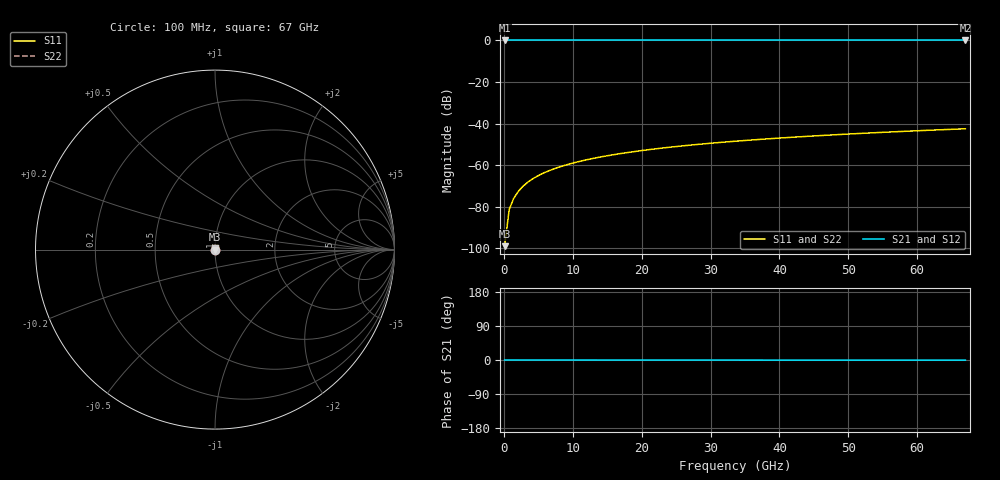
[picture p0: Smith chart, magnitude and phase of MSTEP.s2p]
! Touchstone Ver. 1.0
! Number of ports is 2
# Hz  S RI  R  50
! SCATTERING PARAMETERS  :
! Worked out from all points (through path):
!   101 points, 100 MHz to 67 GHz, reference 50 ohm
!   highest |S21| = 0.00 dB at 100 MHz (marker M1); lowest = 0.0 dB at 67 GHz (marker M2)
!   lowest |S11| = -99.0 dB at 100 MHz (marker M3), VSWR 1.00, Z = 50 + j0.00112 ohm
!   |S11| at or under -10 dB: start of sweep to end of sweep
!   |S22| runs from -99.0 to -42.5 dB; largest |S21 - S12| = 0
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1e8  1.25e-10 1.12e-05  1 -1.12e-05  1 -1.12e-05  1.25e-10 1.12e-05
7.69e8  7.38e-09 8.59e-05  1 -8.59e-05  1 -8.59e-05  7.38e-09 8.59e-05
1.438e9  2.58e-08 0.000161  1 -0.000161  1 -0.000161  2.58e-08 0.000161
2.107e9  5.54e-08 0.000235  1 -0.000235  1 -0.000235  5.54e-08 0.000235
2.776e9  9.62e-08 0.00031  1 -0.00031  1 -0.00031  9.62e-08 0.00031
3.445e9  1.48e-07 0.000385  1 -0.000385  1 -0.000385  1.48e-07 0.000385
4.114e9  2.11e-07 0.00046  1 -0.00046  1 -0.00046  2.11e-07 0.00046
4.783e9  2.86e-07 0.000534  1 -0.000534  1 -0.000534  2.86e-07 0.000534
6.121e9  4.68e-07 0.000684  1 -0.000684  1 -0.000684  4.68e-07 0.000684
7.459e9  6.95e-07 0.000834  1 -0.000834  1 -0.000834  6.95e-07 0.000834
9.466e9  1.12e-06 0.00106  1 -0.00106  1 -0.00106  1.12e-06 0.00106
1.1473e10  1.64e-06 0.00128  1 -0.00128  1 -0.00128  1.64e-06 0.00128
1.4149e10  2.5e-06 0.00158  1 -0.00158  1 -0.00158  2.5e-06 0.00158
1.6825e10  3.53e-06 0.00188  1 -0.00188  1 -0.00188  3.53e-06 0.00188
1.9501e10  4.75e-06 0.00218  1 -0.00218  1 -0.00218  4.75e-06 0.00218
2.2846e10  6.52e-06 0.00255  1 -0.00255  1 -0.00255  6.52e-06 0.00255
2.7529e10  9.46e-06 0.00308  1 -0.00308  1 -0.00308  9.46e-06 0.00308
3.355e10  1.41e-05 0.00375  1 -0.00375  1 -0.00375  1.41e-05 0.00375
3.8902e10  1.89e-05 0.00435  1 -0.00435  1 -0.00435  1.89e-05 0.00435
4.4923e10  2.52e-05 0.00502  1 -0.00502  1 -0.00502  2.52e-05 0.00502
5.6296e10  3.95e-05 0.00629  1 -0.00629  1 -0.00629  3.95e-05 0.00629
6.7e10  5.6e-05 0.00748  0.9999 -0.00748  0.9999 -0.00748  5.6e-05 0.00748
